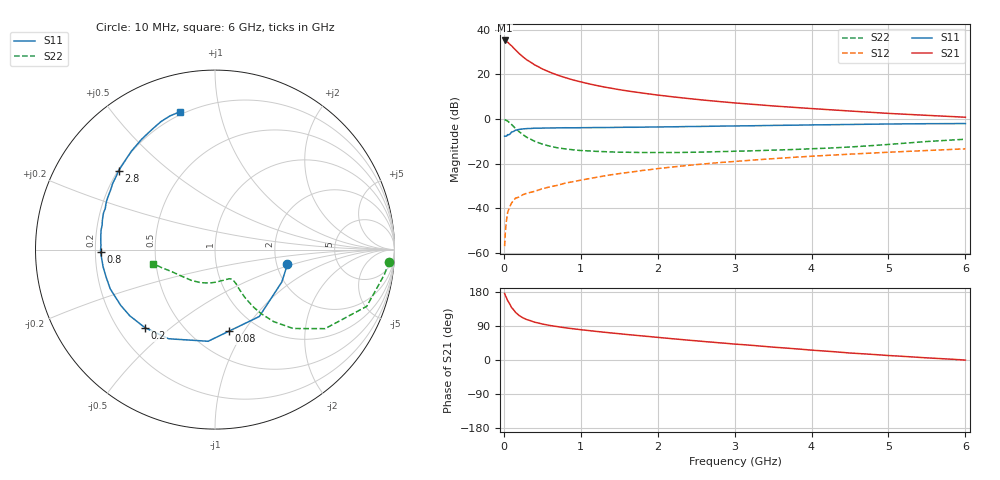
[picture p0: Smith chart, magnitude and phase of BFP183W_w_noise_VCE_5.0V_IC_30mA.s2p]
! Infineon Technologies  Discrete & RF Semiconductors
! BFP183W
! VCE =  5.0 V,  IC =  30 mA
! Common Emitter S-Parameters:  Jan 2017
# GHz  S  MA  R  50
!  f  S11  S21  S12  S22
! GHz  MAG  ANG  MAG  ANG  MAG  ANG  MAG  ANG
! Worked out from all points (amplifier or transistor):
!   77 points, 10 MHz to 6 GHz, reference 50 ohm
!   highest |S21| = 35.3 dB at 10 MHz (marker M1)
!   |S21| within 3 dB of that: start of sweep to 117.1 MHz
!   unconditionally stable (mu >= 1): 936.2 MHz to 3.43 GHz
!   at 130 MHz: K = 0.30, MSG = 34.1 dB, |S12| = -36.4 dB
!   at 2.2 GHz: K = 1.06, MAG = 14.2 dB, |S12| = -21.5 dB
!   at 6 GHz: K = 0.86, MSG = 7.1 dB, |S12| = -13.4 dB
!   lowest NFmin = 1.39 dB at 450 MHz
!   S11 on the Smith chart (normalised r, x): 10 MHz: 2.29, -0.45; 80 MHz: 0.74, -0.86; 200 MHz: 0.31, -0.41; 800 MHz: 0.22, -0.01; 2.8 GHz: 0.20, +0.34; 6 GHz: 0.18, +0.76
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0.01  0.4118 -11.5  58.08 175.5  0.0014 93.3  0.9726 -4.0
0.02  0.4137 -25.8  57.42 170.0  0.003 90.2  0.9537 -8.4
0.05  0.4471 -56.5  53.24 156.6  0.008 71.0  0.9027 -20.5
0.08  0.4618 -80.6  47.19 146.5  0.011 64.6  0.807 -29.0
0.1  0.5122 -94.3  44.15 138.4  0.013 62.0  0.755 -35.7
0.15  0.5599 -117.5  35.88 126.1  0.0167 51.9  0.6182 -45.3
0.2  0.5843 -131.8  29.46 117.3  0.0178 50.9  0.5179 -50.8
0.25  0.6011 -142.1  24.77 111.1  0.0201 48.0  0.443 -54.1
0.3  0.6103 -149.4  21.22 106.5  0.0216 48.0  0.3879 -56.1
0.4  0.6235 -159.5  16.46 99.7  0.0238 50.3  0.3164 -58.0
0.5  0.6258 -166.1  13.33 95.0  0.0272 52.2  0.2734 -58.4
0.6  0.6307 -171.3  11.23 91.1  0.0301 53.8  0.2455 -58.6
0.7  0.6333 -175.3  9.655 88.0  0.0326 56.7  0.2254 -58.3
0.8  0.6378 -179.0  8.492 84.9  0.0365 57.7  0.2134 -58.6
1.1  0.6411 172.7  6.209 77.8  0.0457 60.8  0.1927 -59.9
1.5  0.6508 163.8  4.57 69.4  0.0596 62.1  0.1803 -64.6
2.1  0.6667 152.2  3.298 57.9  0.0806 61.2  0.177 -76.8
2.8  0.6937 140.7  2.469 45.4  0.1053 58.6  0.1854 -95.3
3.1  0.7024 136.2  2.231 40.6  0.1151 57.1  0.1909 -103.5
4.1  0.741 122.5  1.676 24.6  0.1495 51.0  0.2184 -129.8
5.1  0.7762 112.0  1.312 10.7  0.1831 44.7  0.2772 -154.5
6  0.7924 104.1  1.098 -0.2  0.2143 38.5  0.3522 -167.1
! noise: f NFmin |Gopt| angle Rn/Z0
0.45  1.39  0.27  180  0.1
0.9  1.43  0.3  -178  0.09
1.9  1.92  0.45  -156  0.1
2.4  2.17  0.5  -152  0.15
